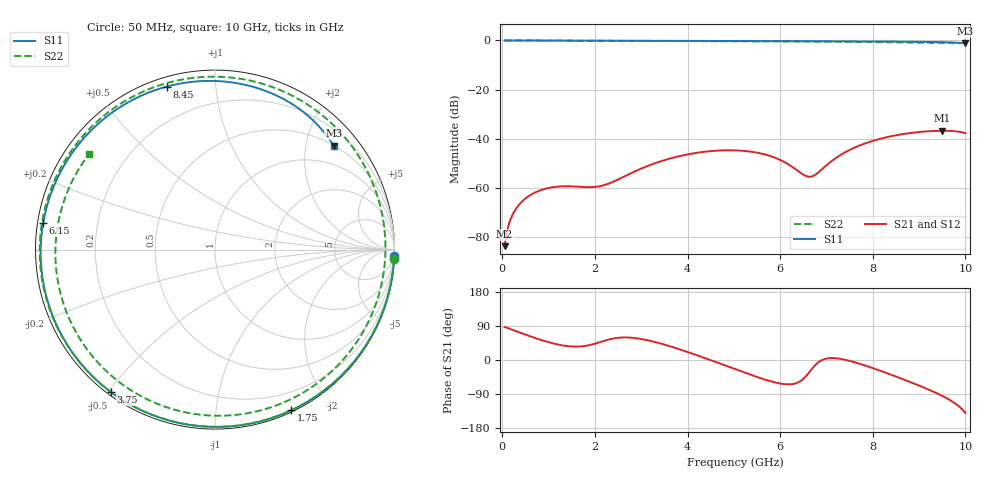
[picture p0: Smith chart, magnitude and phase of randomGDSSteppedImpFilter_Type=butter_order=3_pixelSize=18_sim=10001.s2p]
! freq	dB(S11)	phase(S11)	dB(S12)	phase(S12)
!  dB(S21)	phase(S21)	dB(S22)	phase(S22)
!S-par simulation data
#  GHz  S  DB  R 50
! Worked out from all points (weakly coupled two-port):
!   200 points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, 50 MHz to 10 GHz, reference 50 ohm
!   highest |S21| = -36.82 dB at 9.5 GHz (marker M1); lowest = -83.9 dB at 50 MHz (marker M2)
!   lowest |S11| = -1.1 dB at 10 GHz (marker M3), VSWR 15.59, Z = 25.1 + j129 ohm
!   |S11| at or under -10 dB: nowhere
!   |S22| runs from -1.1 to 0.0 dB; largest |S21 - S12| = 0
!   S11 on the Smith chart (normalised r, x): 50 MHz: 1, -58; 1.75 GHz: 0.02, -1.58; 3.75 GHz: 0.01, -0.51; 6.15 GHz: 0.02, +0.08; 8.45 GHz: 0.04, +0.75; 10 GHz: 0.50, +2.57
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0.05  -0.01 -2.0  -83.87 87.1  -83.87 87.1  -0.01 -2.9
0.25  -0.01 -9.6  -70.03 78.2  -70.03 78.2  -0.02 -14.2
0.6  -0.03 -23.0  -63.10 62.5  -63.10 62.5  -0.04 -33.9
1.2  -0.06 -45.2  -59.59 40.9  -59.59 40.9  -0.08 -66.7
1.75  -0.08 -64.6  -59.74 36.4  -59.74 36.4  -0.11 -95.4
2.15  -0.09 -78.0  -59.23 48.8  -59.23 48.8  -0.14 -115.6
2.65  -0.11 -94.0  -55.31 59.6  -55.31 59.6  -0.16 -140.3
3.4  -0.14 -116.4  -49.39 44.1  -49.39 44.1  -0.20 -177.3
3.75  -0.15 -126.2  -47.50 31.3  -47.50 31.3  -0.22 165.1
4.35  -0.18 -142.5  -45.42 6.2  -45.42 6.2  -0.26 133.4
5.05  -0.21 -160.7  -44.83 -25.2  -44.83 -25.2  -0.32 93.4
5.6  -0.24 -174.8  -46.15 -48.9  -46.15 -48.9  -0.36 59.5
6.15  -0.28 171.1  -50.20 -64.2  -50.20 -64.2  -0.41 24.3
6.7  -0.31 156.8  -55.34 -21.4  -55.34 -21.4  -0.47 -11.2
7.1  -0.34 146.1  -49.37 5.1  -49.37 5.1  -0.52 -36.5
7.55  -0.38 133.7  -44.18 -3.9  -44.18 -3.9  -0.59 -64.2
7.95  -0.42 122.0  -41.24 -19.3  -41.24 -19.3  -0.67 -88.2
8.35  -0.46 109.7  -39.24 -36.8  -39.24 -36.8  -0.75 -112.0
8.45  -0.47 106.5  -38.85 -41.3  -38.85 -41.3  -0.78 -118.0
9  -0.56 87.4  -37.33 -67.6  -37.33 -67.6  -0.91 -151.3
9.5  -0.69 67.0  -36.82 -94.7  -36.82 -94.7  -1.03 176.9
10  -1.12 41.2  -37.81 -139.9  -37.81 -139.9  -1.10 143.0
